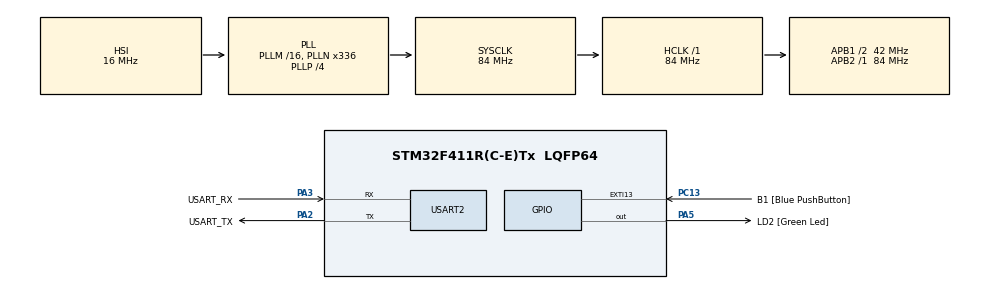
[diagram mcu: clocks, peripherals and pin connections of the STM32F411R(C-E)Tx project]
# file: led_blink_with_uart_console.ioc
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Dma.Request0=USART2_RX
Dma.USART2_RX.0.Direction=DMA_PERIPH_TO_MEMORY
Dma.USART2_RX.0.FIFOMode=DMA_FIFOMODE_DISABLE
Dma.USART2_RX.0.Instance=DMA1_Stream5
Dma.USART2_RX.0.MemDataAlignment=DMA_MDATAALIGN_BYTE
Dma.USART2_RX.0.MemInc=DMA_MINC_ENABLE
Dma.USART2_RX.0.Mode=DMA_CIRCULAR
Dma.USART2_RX.0.PeriphDataAlignment=DMA_PDATAALIGN_BYTE
Dma.USART2_RX.0.PeriphInc=DMA_PINC_DISABLE
Dma.USART2_RX.0.Priority=DMA_PRIORITY_LOW
Mcu.Family=STM32F4
Mcu.Name=STM32F411R(C-E)Tx
Mcu.Package=LQFP64
NVIC.DMA1_Stream5_IRQn=true\:0\:0\:false\:false\:true\:false\:true\:true
NVIC.EXTI15_10_IRQn=true\:0\:0\:false\:false\:true\:true\:true\:true
NVIC.PriorityGroup=NVIC_PRIORITYGROUP_0
NVIC.TIM2_IRQn=true\:0\:0\:false\:false\:true\:true\:true\:true
NVIC.USART2_IRQn=true\:0\:0\:false\:false\:true\:true\:true\:true
PA13.GPIO_Label=TMS
PA13.Mode=Serial_Wire
PA13.Signal=SYS_JTMS-SWDIO
PA14.GPIO_Label=TCK
PA14.Mode=Serial_Wire
PA14.Signal=SYS_JTCK-SWCLK
PA2.GPIO_Label=USART_TX
PA2.Mode=Asynchronous
PA2.Signal=USART2_TX
PA3.GPIO_Label=USART_RX
PA3.Mode=Asynchronous
PA3.Signal=USART2_RX
PA5.GPIO_Label=LD2 [Green Led]
PA5.Signal=GPIO_Output
PB3.GPIO_Label=SWO
PB3.Signal=SYS_JTDO-SWO
PC13-ANTI_TAMP.GPIO_Label=B1 [Blue PushButton]
PC13-ANTI_TAMP.GPIO_ModeDefaultEXTI=GPIO_MODE_IT_FALLING
PC13-ANTI_TAMP.GPIO_PuPd=GPIO_NOPULL
PC13-ANTI_TAMP.Signal=GPXTI13
PC14-OSC32_IN.Signal=RCC_OSC32_IN
PC15-OSC32_OUT.Signal=RCC_OSC32_OUT
PH0\ -\ OSC_IN.Mode=HSE-External-Oscillator
PH0\ -\ OSC_IN.Signal=RCC_OSC_IN
PH1\ -\ OSC_OUT.Mode=HSE-External-Oscillator
PH1\ -\ OSC_OUT.Signal=RCC_OSC_OUT
ProjectManager.HeapSize=0x200
ProjectManager.StackSize=0x400
ProjectManager.TargetToolchain=STM32CubeIDE
RCC.48MHZClocksFreq_Value=84000000
RCC.AHBFreq_Value=84000000
RCC.APB1CLKDivider=RCC_HCLK_DIV2
RCC.APB1Freq_Value=42000000
RCC.APB1TimFreq_Value=84000000
RCC.APB2Freq_Value=84000000
RCC.APB2TimFreq_Value=84000000
RCC.CortexFreq_Value=84000000
RCC.FLatency-AdvancedSettings=FLASH_LATENCY_2
RCC.HCLKFreq_Value=84000000
RCC.HSE_VALUE=8000000
RCC.HSI_VALUE=16000000
RCC.LSE_VALUE=32768
RCC.PLLN=336
RCC.PLLP=RCC_PLLP_DIV4
RCC.SYSCLKFreq_VALUE=84000000
RCC.SYSCLKSource=RCC_SYSCLKSOURCE_PLLCLK
RCC.VCOOutputFreq_Value=336000000
TIM2.AutoReloadPreload=TIM_AUTORELOAD_PRELOAD_ENABLE
TIM2.Period=10 - 1
TIM2.Prescaler=16000 - 1
USART2.VirtualMode=VM_ASYNC
VP_TIM2_VS_ClockSourceINT.Mode=Internal
board=NUCLEO-F411RE

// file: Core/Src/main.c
/* USER CODE BEGIN Header */
/**
 ******************************************************************************
 * @file           : main.c
 * @brief          : Main program body
 ******************************************************************************
 * @attention
 *
 * Copyright (c) 2025 STMicroelectronics.
 * All rights reserved.
 *
 * This software is licensed under terms that can be found in the LICENSE file
 * in the root directory of this software component.
 * If no LICENSE file comes with this software, it is provided AS-IS.
 *
 ******************************************************************************
 */
/* USER CODE END Header */
#include "main.h"
#include "dma.h"
#include "tim.h"
#include "usart.h"
#include "gpio.h"

/* USER CODE BEGIN Includes */
#include "console.h"

/* USER CODE END Includes */

/* USER CODE BEGIN PTD */

typedef struct {
	led_mode_t mode;
	uint32_t last_toggle_ms;
	uint32_t interval_ms;
	uint8_t led_on;
} led_ctrl_t;

typedef struct {
	uint8_t pending;
	uint32_t timestamp_ms;
} button_db_t;

volatile button_db_t button = { 0 };

typedef void (*task_fn_t)(void);

typedef struct {
	task_fn_t fn;
	uint32_t period_ms;
	uint32_t last_run_ms;
} task_t;

/* USER CODE END PTD */

/* USER CODE BEGIN PD */
#define DEBOUNCE_MS 50
#define TASK_COUNT 4

/* USER CODE END PD */

/* USER CODE BEGIN PV */
volatile uint32_t system_tick_ms = 0;

led_ctrl_t led = { .mode = LED_MODE_SLOW, .last_toggle_ms = 0, .interval_ms =
		500, .led_on = 0 };

/* USER CODE END PV */

void SystemClock_Config(void);
/* USER CODE BEGIN PFP */
void led_update(led_ctrl_t *ctrl, uint32_t now_ms);
uint8_t button_debounce_update(void);
void task_led(void);
void task_button(void);
void task_idle(void);
void task_console(void);

/* USER CODE END PFP */

/* USER CODE BEGIN 0 */
task_t tasks[TASK_COUNT] = { { task_button, 10, 0 },   // 10 ms
		{ task_led, 1, 0 },   // 1 ms
		{ task_console, 5, 0 },   // 5 ms
		{ task_idle, 0, 0 }    // always
};

/* USER CODE END 0 */

int main(void) {

	/* MCU Configuration--------------------------------------------------------*/

	/* Reset of all peripherals, Initializes the Flash interface and the Systick. */
	HAL_Init();

	/* Configure the system clock */
	SystemClock_Config();

	/* Initialize all configured peripherals */
	MX_GPIO_Init();
	MX_DMA_Init();
	MX_TIM2_Init();
	MX_USART2_UART_Init();
	/* USER CODE BEGIN 2 */

	console_init();

	HAL_TIM_Base_Start_IT(&htim2);

	/* USER CODE END 2 */

	/* Infinite loop */
	while (1) {

		/* USER CODE BEGIN 3 */
		uint32_t now = system_tick_ms;

		for (int i = 0; i < TASK_COUNT; i++) {
			if (tasks[i].period_ms == 0
					|| (now - tasks[i].last_run_ms) >= tasks[i].period_ms) {
				tasks[i].last_run_ms = now;
				tasks[i].fn();
			}
		}

	}
	/* USER CODE END 3 */
}

void SystemClock_Config(void) {
	RCC_OscInitTypeDef RCC_OscInitStruct = { 0 };
	RCC_ClkInitTypeDef RCC_ClkInitStruct = { 0 };

	/** Configure the main internal regulator output voltage
	 */
	__HAL_RCC_PWR_CLK_ENABLE();
	__HAL_PWR_VOLTAGESCALING_CONFIG(PWR_REGULATOR_VOLTAGE_SCALE1);

	/** Initializes the RCC Oscillators according to the specified parameters
	 * in the RCC_OscInitTypeDef structure.
	 */
	RCC_OscInitStruct.OscillatorType = RCC_OSCILLATORTYPE_HSI;
	RCC_OscInitStruct.HSIState = RCC_HSI_ON;
	RCC_OscInitStruct.HSICalibrationValue = RCC_HSICALIBRATION_DEFAULT;
	RCC_OscInitStruct.PLL.PLLState = RCC_PLL_ON;
	RCC_OscInitStruct.PLL.PLLSource = RCC_PLLSOURCE_HSI;
	RCC_OscInitStruct.PLL.PLLM = 16;
	RCC_OscInitStruct.PLL.PLLN = 336;
	RCC_OscInitStruct.PLL.PLLP = RCC_PLLP_DIV4;
	RCC_OscInitStruct.PLL.PLLQ = 4;
	if (HAL_RCC_OscConfig(&RCC_OscInitStruct) != HAL_OK) {
		Error_Handler();
	}

	/** Initializes the CPU, AHB and APB buses clocks
	 */
	RCC_ClkInitStruct.ClockType = RCC_CLOCKTYPE_HCLK | RCC_CLOCKTYPE_SYSCLK
			| RCC_CLOCKTYPE_PCLK1 | RCC_CLOCKTYPE_PCLK2;
	RCC_ClkInitStruct.SYSCLKSource = RCC_SYSCLKSOURCE_PLLCLK;
	RCC_ClkInitStruct.AHBCLKDivider = RCC_SYSCLK_DIV1;
	RCC_ClkInitStruct.APB1CLKDivider = RCC_HCLK_DIV2;
	RCC_ClkInitStruct.APB2CLKDivider = RCC_HCLK_DIV1;

	if (HAL_RCC_ClockConfig(&RCC_ClkInitStruct, FLASH_LATENCY_2) != HAL_OK) {
		Error_Handler();
	}
}

/* USER CODE BEGIN 4 */
void HAL_GPIO_EXTI_Callback(uint16_t GPIO_Pin) {
	if (GPIO_Pin == B1_Pin) {
		if (!button.pending) {
			button.pending = 1;
			button.timestamp_ms = system_tick_ms;
		}
	}
}

void HAL_TIM_PeriodElapsedCallback(TIM_HandleTypeDef *htim) {
	if (htim->Instance == TIM2) {
		system_tick_ms++;
	}
}

uint32_t system_uptime_ms(void) {
	return system_tick_ms;
}

void led_set_mode(led_mode_t mode) {
	led.mode = mode;
}

led_mode_t led_get_mode(void) {
	return led.mode;
}

const char* led_mode_str(led_mode_t mode) {
	switch (mode) {
	case LED_MODE_OFF:
		return "off";
	case LED_MODE_SLOW:
		return "slow";
	case LED_MODE_FAST:
		return "fast";
	default:
		return "unknown";
	}
}

void led_update(led_ctrl_t *ctrl, uint32_t now_ms) {
	switch (ctrl->mode) {
	case LED_MODE_OFF:
		HAL_GPIO_WritePin(LD2_GPIO_Port, LD2_Pin, GPIO_PIN_RESET);
		ctrl->led_on = 0;
		break;

	case LED_MODE_SLOW:
		ctrl->interval_ms = 500;
		break;

	case LED_MODE_FAST:
		ctrl->interval_ms = 100;
		break;
	}

	if (ctrl->mode != LED_MODE_OFF) {
		if ((now_ms - ctrl->last_toggle_ms) >= ctrl->interval_ms) {
			ctrl->last_toggle_ms = now_ms;
			ctrl->led_on ^= 1;
			HAL_GPIO_WritePin(
			LD2_GPIO_Port,
			LD2_Pin, ctrl->led_on ? GPIO_PIN_SET : GPIO_PIN_RESET);
		}
	}
}

uint8_t button_debounce_update(void) {
	if (button.pending) {
		if ((system_tick_ms - button.timestamp_ms) >= DEBOUNCE_MS) {
			button.pending = 0;

			if (HAL_GPIO_ReadPin(B1_GPIO_Port, B1_Pin) == GPIO_PIN_RESET) {
				return 1;  // Valid press
			}
		}
	}
	return 0;
}

void task_led(void) {
	led_update(&led, system_tick_ms);
}

void task_button(void) {
	if (button_debounce_update()) {
		led.mode++;
		if (led.mode > LED_MODE_FAST) {
			led.mode = LED_MODE_OFF;
		}
	}
}

void task_idle(void) {
	__WFI();  // Sleep until next interrupt
}

/* USER CODE END 4 */

void Error_Handler(void) {
	__disable_irq();
	while (1) {
	}
}
